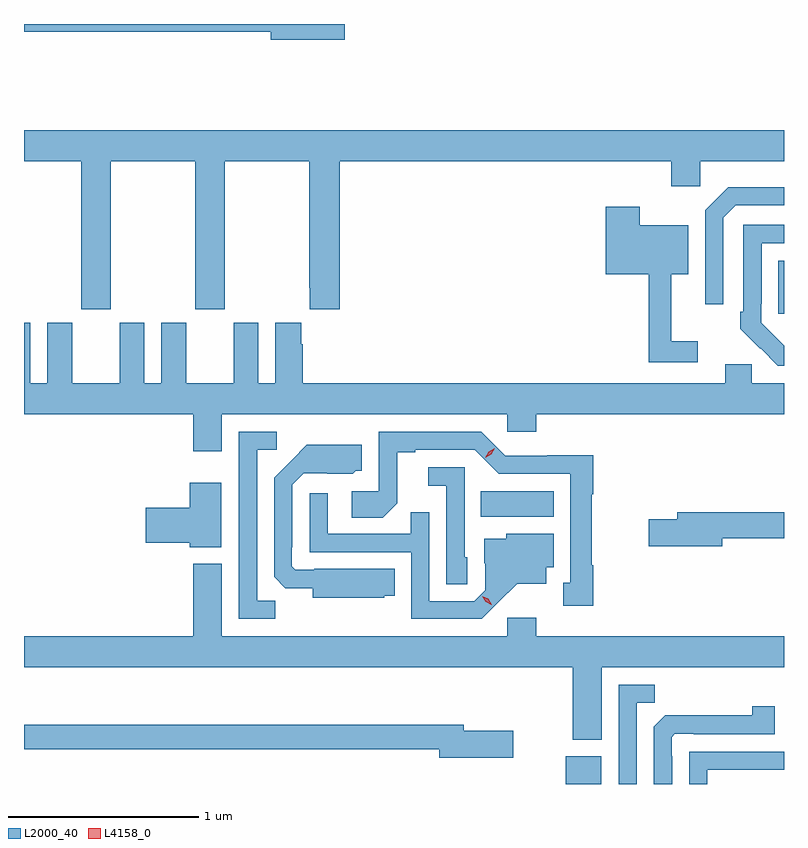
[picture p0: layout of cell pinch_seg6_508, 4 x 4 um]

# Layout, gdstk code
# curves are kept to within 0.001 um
import gdstk
lib = gdstk.Library(unit=1e-6, precision=1e-09)
def R(c, l, rs):  # rectangles x0, y0, x1, y1
    for r in rs: c.add(gdstk.rectangle(r[:2], r[2:], *l))
def P(c, l, *ps):  # polygons
    for p in ps: c.add(gdstk.Polygon(p, *l))
L2000_40 = (2000, 40)
L4158_0 = (4158, 0)

pinch_seg6_508 = lib.new_cell('pinch_seg6_508')
R(pinch_seg6_508, L2000_40, [(773.624,948.054,773.809,948.199), (773.176,949.46,773.56,949.594), (774.743,950.529,774.772,950.809)])
P(pinch_seg6_508, L2000_40, [(772.459,952.054),(770.772,952.054),(770.772,952.012),(772.07,952.012),(772.07,951.97),(772.459,951.97)],
  [(771.228,951.332),(771.673,951.332),(771.673,950.553),(771.828,950.553),(771.828,951.332),(772.273,951.332),(772.273,950.665),(772.277,950.665),(772.277,950.553),(772.433,950.553),(772.433,951.332),(774.179,951.332),(774.179,951.201),(774.33,951.201),(774.33,951.332),(774.772,951.332),(774.772,951.496),(770.772,951.496),(770.772,951.332),(771.073,951.332),(771.073,950.553),(771.228,950.553)],
  [(774.453,951.033),(774.519,951.099),(774.772,951.099),(774.772,951.196),(774.478,951.196),(774.357,951.075),(774.357,950.58),(774.453,950.58)],
  [(774.319,950.383),(774.179,950.383),(774.179,950.738),(774.268,950.738),(774.268,950.995),(774.012,950.995),(774.012,951.091),(773.834,951.091),(773.834,950.738),(774.061,950.738),(774.061,950.274),(774.319,950.274)],
  [(774.772,950.361),(774.651,950.481),(774.651,950.581),(774.654,950.581),(774.654,950.901),(774.772,950.901),(774.772,950.997),(774.558,950.997),(774.558,950.539),(774.543,950.539),(774.543,950.451),(774.74,950.256),(774.772,950.256)],
  [(770.894,950.482),(770.894,950.164),(770.806,950.164),(770.806,950.482),(770.772,950.482),(770.772,950),(771.662,950),(771.662,949.806),(771.814,949.806),(771.814,950),(773.316,950),(773.316,949.907),(773.468,949.907),(773.468,950),(774.772,950),(774.772,950.164),(774.603,950.164),(774.603,950.262),(774.464,950.262),(774.464,950.164),(772.238,950.164),(772.238,950.369),(772.231,950.369),(772.231,950.482),(772.094,950.482),(772.094,950.164),(772.006,950.164),(772.006,950.482),(771.875,950.482),(771.875,950.164),(771.625,950.164),(771.625,950.482),(771.494,950.482),(771.494,950.164),(771.406,950.164),(771.406,950.482),(771.275,950.482),(771.275,950.164),(771.025,950.164),(771.025,950.482)],
  [(773.767,949.205),(773.759,949.205),(773.759,949.579),(773.767,949.579),(773.767,949.784),(773.526,949.784),(773.526,949.782),(773.304,949.782),(773.178,949.908),(772.638,949.908),(772.638,949.596),(772.497,949.596),(772.497,949.456),(772.661,949.456),(772.737,949.532),(772.737,949.8),(772.831,949.8),(772.831,949.812),(773.145,949.812),(773.271,949.686),(773.648,949.686),(773.648,949.113),(773.609,949.113),(773.609,948.993),(773.767,948.993)],
  [(772.095,949.019),(771.999,949.019),(771.999,949.812),(772.102,949.812),(772.102,949.908),(771.903,949.908),(771.903,948.924),(772.095,948.924)],
  [(772.668,949.046),(772.724,949.046),(772.724,949.186),(772.3,949.186),(772.3,949.182),(772.2,949.182),(772.182,949.2),(772.182,949.3),(772.185,949.3),(772.185,949.629),(772.245,949.689),(772.502,949.688),(772.518,949.704),(772.549,949.704),(772.549,949.84),(772.261,949.84),(772.089,949.666),(772.089,949.144),(772.148,949.085),(772.292,949.085),(772.292,949.034),(772.668,949.034)],
  [(773.106,949.248),(773.091,949.248),(773.091,949.722),(772.899,949.722),(772.899,949.625),(772.995,949.625),(772.995,949.105),(773.106,949.105)],
  [(771.811,949.639),(771.644,949.639),(771.644,949.508),(771.414,949.508),(771.414,949.325),(771.644,949.325),(771.644,949.301),(771.811,949.301)],
  [(773.266,949.007),(773.369,949.109),(773.521,949.109),(773.521,949.196),(773.56,949.196),(773.56,949.372),(773.31,949.372),(773.31,949.345),(773.195,949.345),(773.195,949.216),(773.199,949.216),(773.199,949.074),(773.142,949.017),(772.905,949.017),(772.905,949.484),(772.807,949.484),(772.807,949.371),(772.371,949.371),(772.371,949.585),(772.275,949.585),(772.275,949.275),(772.809,949.275),(772.809,948.924),(773.182,948.924)],
  [(774.448,949.348),(774.772,949.348),(774.772,949.484),(774.209,949.484),(774.209,949.448),(774.06,949.448),(774.06,949.306),(774.448,949.306)],
  [(773.812,948.668),(774.772,948.668),(774.772,948.832),(773.468,948.832),(773.468,948.928),(773.316,948.928),(773.316,948.832),(771.814,948.832),(771.814,949.213),(771.662,949.213),(771.662,948.832),(770.772,948.832),(770.772,948.668),(773.66,948.668),(773.66,948.288),(773.812,948.288)],
  [(773.997,948.481),(774.093,948.481),(774.093,948.576),(773.901,948.576),(773.901,948.054),(773.997,948.054)],
  [(774.183,948.2),(774.18,948.2),(774.18,948.3),(774.198,948.318),(774.298,948.318),(774.298,948.315),(774.722,948.315),(774.722,948.463),(774.604,948.463),(774.604,948.416),(774.146,948.415),(774.087,948.356),(774.087,948.054),(774.183,948.054)],
  [(773.347,948.333),(773.086,948.333),(773.086,948.367),(770.772,948.367),(770.772,948.238),(772.958,948.238),(772.958,948.191),(773.347,948.191)],
  [(774.369,948.129),(774.772,948.129),(774.772,948.225),(774.273,948.225),(774.273,948.054),(774.369,948.054)])
P(pinch_seg6_508, L4158_0, [(773.2,949.771),(773.2,949.771),(773.217,949.803),(773.249,949.822),(773.249,949.822),(773.249,949.822),(773.232,949.789),(773.2,949.771)],
  [(773.232,948.998),(773.201,949.013),(773.184,949.042),(773.184,949.043),(773.184,949.043),(773.215,949.028),(773.233,948.998),(773.233,948.998)])

lib.write_gds('pinch_seg6_508.gds')
